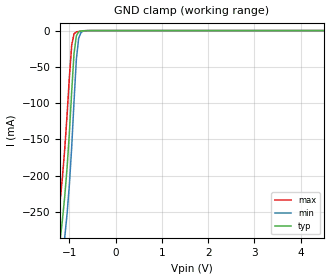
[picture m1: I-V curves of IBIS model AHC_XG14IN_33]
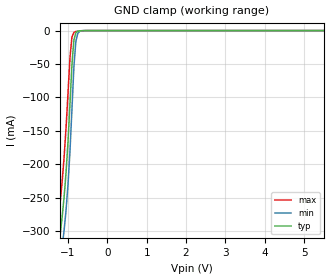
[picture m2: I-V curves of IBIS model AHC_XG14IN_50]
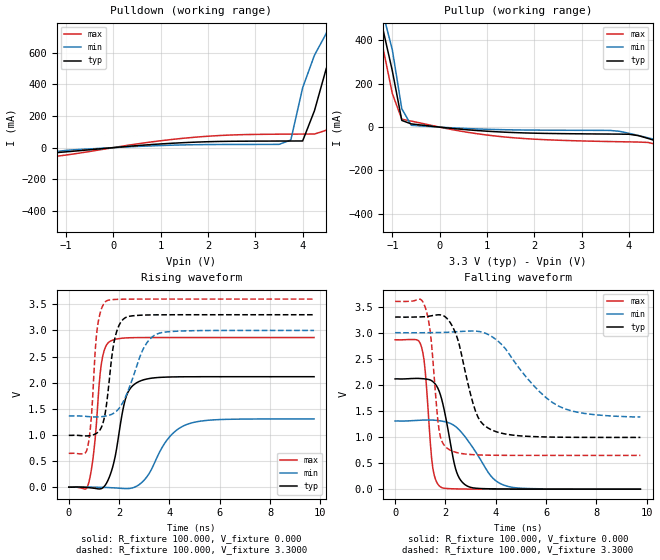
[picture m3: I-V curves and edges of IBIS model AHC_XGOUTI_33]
| Philips Semiconductors Inc.
| Logic Products Group
| IBIS model of 74AHC1G14
| SINGLE SCHMITT-TRIGGER INVERTER
|[Packages]:
|[Package1]: SOT353 (SC88A) 5-pin Package ;
|[Package2]: SOT753 (SC74A) 5-pin Package ;
[IBIS Ver]   3.2
[File Name]   ahc1g14.ibs
[File Rev]   1.4
[Date]   12-May-2003
[Source]   File created from simulations by LPG
   Philips Semiconductors Nijmegen
[Notes]   V1.4   Ibis model.
| Revision History
| Version Date   Author/ Description
|   Editor
| 1.3   December   2000 RM   Reviewed version for IBIS 3.2
| 1.4   May   2003 RM   Updated version
| Remark:
| The Power Clamp curves have been omitted since there is no power clamp diode.
[Disclaimer]
    (C) Copyright 2003 Philips Semiconductors
    All rights reserved
    Philips Semiconductors warrants and represents that the IBIS model
    identified herein is owned by Philips Semiconductors (PHILIPS). The
    model provided is not warranted as fully representing all of the
    operating characteristics and specifications of the semiconductor
    products to which the model relates.  Moreover, unless there is a
    signed, written agreement to the contrary, this IBIS model is
    furnished on an "as is" basis without support or warranty of any
    kind, either expressed or implied, regarding the use thereof, and
    PHILIPS specifically disclaims all implied warranties of
    merchantability and fitness of the model for any purpose.
    PHILIPS does not assume any liability arising out of the application
    or use of this IBIS model including infringement of patents and
    copyrights, nor does PHILIPS convey any license under its patents and
    copyrights or the rights of others.
    PHILIPS provides IBIS models as a service to our customers. You and
    your company shall not distribute, convey, sell, or give these models
    to anyone else without receiving prior written permission from
    PHILIPS.
    PHILIPS reserves the right to make changes without notice to these
    IBIS models to improve reliability, function, or design.
    Please be aware that your receipt and subsequent use of the IBIS
    information provided shall serve as acceptance of the terms and
    conditions of this agreement.  If you do not accept these terms,
    you should return or destroy the IBIS models and any other
    accompanying information immediately.
|   Info for  SOT353 (SC88A) 5-pin Package
[Component]   74AHC1G14_1
[Manufacturer]   Philips Semiconductors Inc.
[package]
|   typ   min   max
R_pkg   966.6e-6   950e-6   979e-6
L_pkg   390.8e-12   388e-12   393e-12
C_pkg   69.2e-15   46e-15   127e-15
[Pin] signal_name   model_name   R_pin   L_pin   C_pin
   1   NC   nc   967e-6   393e-12   46e-15
   2   A   ahc_xg14in   950e-6   388e-12   61e-15
   3   GND   GND   967e-6   392e-12   127e-15
   4   Y#   ahc_xgouti   979e-6   391e-12   59e-15
   5   VCC   POWER   970e-6   390e-12   49e-15
|   Info for  SOT753 (SC74A) 5-pin Package
[Component]   74AHC1G14_2
[Manufacturer]   Philips Semiconductors Inc.
[package]
|   typ   min   max
R_pkg   7.0863E-02   5.8319E-02   8.4334E-02
L_pkg   8.780E-10   7.160E-10   1.003E-09
C_pkg   8.44E-14   5.30E-14   1.63E-13
[Pin] signal_name   model_name   R_pin   L_pin   C_pin
   1   NC   nc 8.43E-02  9.97E-10  7.40E-14
   2   A   ahc_xg14in 5.83E-02  7.16E-10  5.30E-14
   3   GND   GND 7.08E-02 1.003E-09  1.63E-13
   4   Y#   ahc_xgouti 7.04E-02   8.2E-10  6.30E-14
   5   VCC   POWER 7.04E-02  8.54E-10  6.90E-14
[Model Selector]   ahc_xg14in
| Remark: If your software does not support the Model Selector
|   Please comment out the lines of the Model Selector, which
|   contain the name of the Model, except the one you want to use.
AHC_XG14IN_33   3.3V-Vcc Schmitt-trigger input model
AHC_XG14IN_50   5.0V-Vcc Schmitt-trigger input model
[Model Selector]   ahc_xgouti
| Remark: If your software does not support the Model Selector
|   Please comment out the lines of the Model Selector, which
|   contain the name of the Model, except the one you want to use.
AHC_XGOUTI_33   3.3V-Vcc inverting output model
AHC_XGOUTI_50   5.0V-Vcc inverting output model
| Models and submodels in the file (4): AHC_XG14IN_33 (Input), AHC_XG14IN_50 (Input), AHC_XGOUTI_33 (Output), AHC_XGOUTI_50 (Output)
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|   Model AHC_XG14IN_33
[Model]   AHC_XG14IN_33
Model_type   Input
Vinl =   0.9000V
Vinh =   2.1000V
C_comp   1.15pF   1.03pF   1.31pF
[Model Spec]
| Note: The input and output voltage ratings may be exceeded if the input and
|   output current ratings are observed (please refer to the data sheet)
|   Subparameter   typ   min   max
| Hysteresis
Vinh+   2.2   2.2   2.2   | Overrides the
Vinh-   1.7   1.7   1.7   | thresholds
Vinl+   1.4   1.4   1.4
Vinl-   0.9   0.9   0.9
| Overshoot
S_overshoot_high   7.0   7.0   7.0   | Static overshoot
S_overshoot_low   -0.5   -0.5   -0.5
D_overshoot_high   7.2   7.2   7.2   | Dynamic overshoot
D_overshoot_low   -0.95   -0.9   -1.0
D_overshoot_time   3n   3n   3n
|Ambient temperature:   25.0000   85.0000   -40.0000
[Temperature Range]   35.0000   95.0000   -30.0000
[Voltage Range]   3.3000V   3.0000V   3.6000V
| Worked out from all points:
|   GND clamp passes 1 mA (typ) near -0.77 V on its own axis
|Process Range   nominal   slow   fast
[GND_clamp]
| voltage   I(typ)   I(min)   I(max)
-5.5V     -4.57A     -4.592A    -4.542A
-1.3V     -357.4mA   -398.3mA   -309.6mA
-1.25V    -318mA     -360.3mA   -268.5mA
-1.2V     -288.4mA   -334.1mA   -235.1mA
-1.1V     -228.2mA   -284.8mA   -162.7mA
-1.05V    -188.9mA   -252.7mA   -116.3mA
-950mV    -83.6mA    -160.3mA   -20.02mA
-900mV    -31.75mA   -97.75mA   -4.471mA
-850mV    -7.32mA    -39.93mA   -1.902mA
-800mV    -1.657mA   -10.81mA   -1.212mA
-650mV    -111.8uA   -188.5uA   -219.3uA
5.5V      2.587pA    407.7pA    14.64fA
|   Model AHC_XG14IN_50
[Model]   AHC_XG14IN_50
Model_type   Input
Vinl =   1.6500V
Vinh =   3.8500V
C_comp   1.14pF   1.01pF   1.32pF
[Model Spec]
| Note: The input and output voltage ratings may be exceeded if the input and
|   output current ratings are observed (please refer to the data sheet)
|   Subparameter   typ   min   max
| Hysteresis
Vinh+   3.5   3.15   3.85   | Overrides the
Vinh-   2.75   2.45   3.0   | thresholds
Vinl+   2.25   2.05   2.5
Vinl-   1.5   1.35   1.65
| Overshoot
S_overshoot_high   7.0   7.0   7.0   | Static overshoot
S_overshoot_low   -0.5   -0.5   -0.5
D_overshoot_high   11.0   11.0   11.0   | Dynamic overshoot
D_overshoot_low   -0.95   -0.9   -1.0
D_overshoot_time   3n   3n   3n
|Ambient temperature:   25.0000   85.0000   -40.0000
[Temperature Range]   50.0000   105.0000   -10.0000
[Voltage Range]   5.0000V   4.5000V   5.5000V
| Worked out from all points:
|   GND clamp passes 1 mA (typ) near -0.75 V on its own axis
|Process Range   nominal   slow   fast
[GND_clamp]
| voltage   I(typ)   I(min)   I(max)
-5.5V     -4.59A     -4.608A    -4.566A
-1.3V     -373.2mA   -409.3mA   -330mA
-1.25V    -334.2mA   -371.5mA   -289.5mA
-1.2V     -305.7mA   -346mA     -257.6mA
-1.1V     -249.2mA   -299.1mA   -189.7mA
-1V       -166mA     -230.1mA   -93.29mA
-950mV    -109.5mA   -180.1mA   -40.09mA
-900mV    -50.55mA   -117.6mA   -9.69mA
-850mV    -13.87mA   -53.72mA   -2.702mA
-800mV    -3.095mA   -15.9mA    -1.393mA
-650mV    -150.7uA   -285.2uA   -302.5uA
5.5V      29.51pA    1.155nA    47.81fA
|   Model AHC_XGOUTI_33
[Model]   AHC_XGOUTI_33
Model_type   Output
Polarity   Inverting
Vmeas =  1.6500V
Cref  = 50.0000pF
Rref  =  1.0000k
Vref  =  0.000V
C_comp   1.21pF   0.76pF   1.63pF
[Model Spec]
| Note: The input and output voltage ratings may be exceeded if the input and
|   output current ratings are observed (please refer to the data sheet)
|   Subparameter   typ   min   max
| Timing Thresholds
Vmeas   1.65   1.5   1.8
|Ambient temperature:   25.0000   85.0000   -40.0000
[Temperature Range]   35.0000   95.0000   -30.0000
[Voltage Range]   3.3000V   3.0000V   3.6000V
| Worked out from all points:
|   slope of the pulldown table from 0 to 0.495 V, typ, clamps not added: 39.6 ohm
|   slope of the pullup table from 0 to 0.495 V, typ, clamps not added: 47.2 ohm
|   rising waveform, R_fixture 100.000, V_fixture 0.000: 20-80 % time 490ps typ, 979ps min, 309ps max; typ from 0 V to 2.11 V
|   rising waveform, R_fixture 100.000, V_fixture 3.3000: 20-80 % time 368ps typ, 771ps min, 248ps max; typ from 0.992 V to 3.3 V
|   falling waveform, R_fixture 100.000, V_fixture 0.000: 20-80 % time 518ps typ, 1.08ns min, 266ps max; typ from 2.11 V to 0 V
|   falling waveform, R_fixture 100.000, V_fixture 3.3000: 20-80 % time 721ps typ, 1.72ns min, 321ps max; typ from 3.3 V to 0.992 V
|Process Range   nominal   slow   fast
[Pulldown]
| voltage   I(typ)   I(min)   I(max)
-5.5V     -334.1mA   -257.3mA   -500mA
-1.45V    -45.12mA   -37.16mA   -65.81mA
1.5V      31.59mA    17.3mA     59.63mA
3.5V      41.49mA    20.44mA    84.78mA
3.75V     41.69mA    48.04mA    85.3mA
4V        42.12mA    377.9mA    85.5mA
4.25V     233.5mA    583.4mA    85.7mA
4.5V      500.2mA    721.1mA    109.8mA
4.75V     658.6mA    941.5mA    411.8mA
5V        868.5mA    1.186A     608.5mA
5.25V     1.115A     1.435A     810.8mA
11V       6.782A     7.119A     6.44A
[Pullup]
| voltage   I(typ)   I(min)   I(max)
-8V       7.08A      7.118A     7.037A
-1.4V     577.4mA    636.1mA    510mA
-1.2V     453.4mA    527.1mA    368.9mA
-1V       260mA      356.8mA    155.1mA
-800mV    31.09mA    84.93mA    36.69mA
-600mV    14.87mA    8.641mA    27.8mA
1.4V      -23.49mA   -12.05mA   -45.96mA
3.6V      -31.95mA   -15.16mA   -66.49mA
4.2V      -39.25mA   -38.59mA   -68.81mA
4.6V      -65.51mA   -59.92mA   -80.59mA
8V        -317.3mA   -249.1mA   -466.5mA
9.1V      -399.7mA   -310.9mA   -594.3mA
[Ramp]
| variable   typ   min   max
dV/dt_r   1.269V/489.970ps   783.789mV/979.131ps   1.718V/309.409ps
dV/dt_f   1.385V/720.958ps   970.863mV/1.725ns   1.772V/320.797ps
R_load = 100.000
[Rising Waveform]
R_fixture   = 100.000
V_fixture   = 0.000
V_fixture_min = 0.000
V_fixture_max = 0.000
| time   V(typ)   V(min)   V(max)
0s        9.233pV    2.609nV    44.3pV
800ps     -9.424mV   1.233mV    95.21mV
1ns       -20.06mV   -76.42uV   701.9mV
1.3ns     -26.95mV   -3.271mV   2.377V
1.65ns    241.2mV    -9.676mV   2.793V
2.25ns    1.685V     -27.08mV   2.856V
2.8ns     2.024V     50.23mV    2.863V
3.9ns     2.107V     899.8mV    2.864V
4.7ns     2.113V     1.202V     2.864V
9.75ns    2.114V     1.306V     2.864V
[Rising Waveform]
R_fixture   = 100.000
V_fixture   = 3.3000
V_fixture_min = 3.0000
V_fixture_max = 3.6000
| time   V(typ)   V(min)   V(max)
0s        991.8mV    1.363V     647.5mV
750ps     981.7mV    1.352V     763.2mV
900ps     991.2mV    1.347V     1.356V
1.15ns    1.048V     1.345V     3.104V
1.5ns     1.584V     1.364V     3.565V
1.85ns    2.888V     1.437V     3.593V
2.3ns     3.256V     1.778V     3.599V
3ns       3.294V     2.682V     3.6V
3.6ns     3.299V     2.947V     3.6V
9.75ns    3.3V       3V         3.6V
[Falling Waveform]
R_fixture   = 100.000
V_fixture   = 0.000
V_fixture_min = 0.000
V_fixture_max = 0.000
| time   V(typ)   V(min)   V(max)
0s        2.114V     1.307V     2.864V
1.05ns    2.12V      1.323V     2.725V
1.2ns     2.113V     1.325V     2.249V
1.5ns     2.063V     1.324V     398.6mV
1.8ns     1.81V      1.31V      44.52mV
2.4ns     397.5mV    1.202V     5.634mV
2.9ns     52.5mV     927mV      1.975mV
3.8ns     6.707mV    257mV      322.3uV
4.5ns     2.656mV    51.11mV    79.86uV
9.75ns    5.901uV    415.2uV    3.867nV
[Falling Waveform]
R_fixture   = 100.000
V_fixture   = 3.3000
V_fixture_min = 3.0000
V_fixture_max = 3.6000
| time   V(typ)   V(min)   V(max)
0s        3.3V       3V         3.6V
1.2ns     3.307V     3V         3.484V
1.4ns     3.321V     3.001V     3.01V
1.75ns    3.343V     3.004V     1.128V
2.15ns    3.222V     3.01V      758.9mV
2.5ns     2.856V     3.021V     696.2mV
3.2ns     1.489V     3.031V     658.8mV
3.7ns     1.171V     2.965V     651.7mV
6.5ns     996.7mV    1.592V     647.5mV
9.75ns    991.9mV    1.385V     647.5mV
